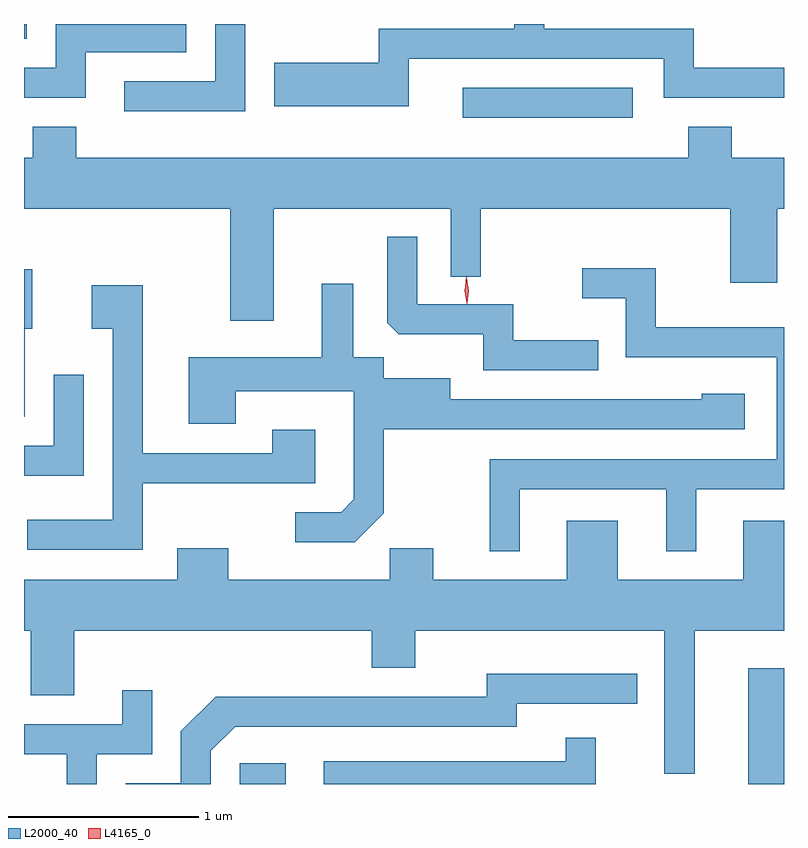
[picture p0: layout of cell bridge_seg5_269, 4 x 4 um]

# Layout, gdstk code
import gdstk
lib = gdstk.Library(unit=1e-6, precision=1e-09)
def R(c, l, rs):  # rectangles x0, y0, x1, y1
    for r in rs: c.add(gdstk.rectangle(r[:2], r[2:], *l))
def P(c, l, *ps):  # polygons
    for p in ps: c.add(gdstk.Polygon(p, *l))
L2000_40 = (2000, 40)
L4165_0 = (4165, 0)

bridge_seg5_269 = lib.new_cell('bridge_seg5_269')
R(bridge_seg5_269, L2000_40, [(743.901,1504.829,744.143,1504.939), (746.576,1504.829,746.765,1505.439), (745.073,1508.336,745.968,1508.494), (742.765,1508.751,742.779,1508.829)])
P(bridge_seg5_269, L2000_40, [(744.789,1508.646),(746.131,1508.646),(746.131,1508.441),(746.765,1508.441),(746.765,1508.599),(746.289,1508.599),(746.289,1508.804),(745.504,1508.804),(745.504,1508.829),(745.346,1508.829),(745.346,1508.804),(744.631,1508.804),(744.631,1508.624),(744.081,1508.624),(744.081,1508.396),(744.789,1508.396)],
  [(743.929,1508.829),(743.771,1508.829),(743.771,1508.529),(743.293,1508.529),(743.293,1508.371),(743.929,1508.371)],
  [(743.089,1508.681),(743.619,1508.681),(743.619,1508.829),(742.931,1508.829),(742.931,1508.599),(742.765,1508.599),(742.765,1508.441),(743.089,1508.441)],
  [(744.079,1507.856),(745.011,1507.856),(745.011,1507.498),(745.169,1507.498),(745.169,1507.856),(746.481,1507.856),(746.481,1507.466),(746.729,1507.466),(746.729,1507.856),(746.765,1507.856),(746.765,1508.124),(746.489,1508.124),(746.489,1508.289),(746.261,1508.289),(746.261,1508.124),(743.039,1508.124),(743.039,1508.289),(742.811,1508.289),(742.811,1508.124),(742.765,1508.124),(742.765,1507.856),(743.851,1507.856),(743.851,1507.266),(744.079,1507.266)],
  [(745.788,1507.164),(745.339,1507.164),(745.339,1507.354),(744.834,1507.354),(744.834,1507.708),(744.676,1507.708),(744.676,1507.257),(744.737,1507.196),(745.181,1507.196),(745.181,1507.006),(745.788,1507.006)],
  [(745.374,1506.381),(746.146,1506.381),(746.146,1506.053),(746.304,1506.053),(746.304,1506.381),(746.765,1506.381),(746.765,1507.234),(746.089,1507.234),(746.089,1507.544),(745.703,1507.544),(745.703,1507.386),(745.931,1507.386),(745.931,1507.076),(746.726,1507.076),(746.726,1506.539),(745.216,1506.539),(745.216,1506.053),(745.374,1506.053)],
  [(742.769,1507.226),(742.809,1507.226),(742.809,1507.539),(742.765,1507.539),(742.765,1506.761),(742.769,1506.761)],
  [(744.659,1506.254),(744.659,1506.696),(746.559,1506.696),(746.559,1506.884),(746.331,1506.884),(746.331,1506.854),(745.009,1506.854),(745.009,1506.964),(744.659,1506.964),(744.659,1507.074),(744.499,1507.074),(744.499,1507.463),(744.331,1507.463),(744.331,1507.074),(743.631,1507.074),(743.631,1506.726),(743.879,1506.726),(743.879,1506.896),(744.501,1506.896),(744.501,1506.327),(744.434,1506.259),(744.193,1506.259),(744.193,1506.101),(744.507,1506.101)],
  [(743.389,1506.411),(744.299,1506.411),(744.299,1506.694),(744.071,1506.694),(744.071,1506.569),(743.389,1506.569),(743.389,1507.454),(743.121,1507.454),(743.121,1507.226),(743.231,1507.226),(743.231,1506.219),(742.783,1506.219),(742.783,1506.061),(743.389,1506.061)],
  [(743.079,1506.983),(742.921,1506.983),(742.921,1506.609),(742.765,1506.609),(742.765,1506.451),(743.079,1506.451)],
  [(744.824,1505.636),(746.136,1505.636),(746.136,1504.883),(746.294,1504.883),(746.294,1505.636),(746.765,1505.636),(746.765,1506.214),(746.551,1506.214),(746.551,1505.904),(745.889,1505.904),(745.889,1506.214),(745.621,1506.214),(745.621,1505.904),(744.919,1505.904),(744.919,1506.069),(744.691,1506.069),(744.691,1505.904),(743.839,1505.904),(743.839,1506.069),(743.571,1506.069),(743.571,1505.904),(742.765,1505.904),(742.765,1505.636),(742.801,1505.636),(742.801,1505.296),(743.029,1505.296),(743.029,1505.636),(744.596,1505.636),(744.596,1505.441),(744.824,1505.441)],
  [(743.749,1505.004),(743.877,1505.131),(745.359,1505.131),(745.359,1505.251),(745.993,1505.251),(745.993,1505.409),(745.201,1505.409),(745.201,1505.289),(743.774,1505.289),(743.591,1505.107),(743.591,1504.834),(743.301,1504.834),(743.301,1504.829),(743.749,1504.829)],
  [(743.149,1504.986),(743.439,1504.986),(743.439,1505.323),(743.281,1505.323),(743.281,1505.144),(742.765,1505.144),(742.765,1504.986),(742.991,1504.986),(742.991,1504.829),(743.149,1504.829)],
  [(745.774,1505.073),(745.616,1505.073),(745.616,1504.949),(744.343,1504.949),(744.343,1504.829),(745.774,1504.829)])
P(bridge_seg5_269, L4165_0, [(745.096,1507.359),(745.096,1507.36),(745.085,1507.426),(745.093,1507.492),(745.094,1507.492),(745.094,1507.492),(745.105,1507.426),(745.097,1507.36)],
  [(745.094,1507.357),(745.094,1507.358),(745.084,1507.426),(745.093,1507.495),(745.094,1507.495),(745.094,1507.495),(745.104,1507.426),(745.095,1507.358)])

lib.write_gds('bridge_seg5_269.gds')
